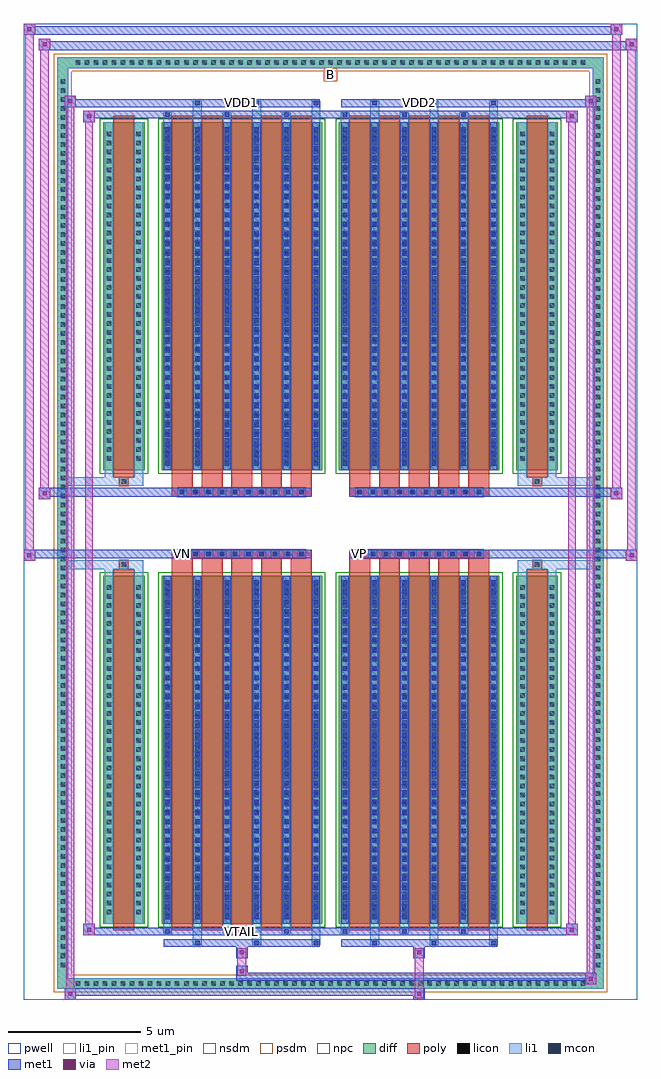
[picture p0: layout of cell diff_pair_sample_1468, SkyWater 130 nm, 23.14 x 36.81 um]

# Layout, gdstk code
import gdstk
lib = gdstk.Library(unit=1e-6, precision=5e-09)
def R(c, l, rs):  # rectangles x0, y0, x1, y1
    for r in rs: c.add(gdstk.rectangle(r[:2], r[2:], *l))
def A(c, l, x, y, w, h, nx, ny, dx, dy):  # array of equal rectangles
    R(c, l, [(x+i*dx, y+j*dy, x+i*dx+w, y+j*dy+h) for i in range(nx) for j in range(ny)])
def P(c, l, *ps):  # polygons
    for p in ps: c.add(gdstk.Polygon(p, *l))
pwell = (64, 44)
diff = (65, 20)
poly = (66, 20)
licon = (66, 44)
li1_pin = (67, 16)
li1 = (67, 20)
mcon = (67, 44)
met1_pin = (68, 16)
met1 = (68, 20)
via = (68, 44)
met2 = (69, 20)
nsdm = (93, 44)
psdm = (94, 20)
npc = (95, 20)

diff_pair_sample_1468 = lib.new_cell('diff_pair_sample_1468')
R(diff_pair_sample_1468, pwell, [(-11.57,-17.97,11.57,18.84), (-8.89,-16.16,-0.01,-0.8), (0.01,-16.16,8.89,-0.8), (-8.89,0.8,-0.01,16.16), (0.01,0.8,8.89,16.16)])
A(diff_pair_sample_1468, diff, -9.725, -17.57, 0.41, 0.41, 57, 2, 0.34, 34.73)
A(diff_pair_sample_1468, diff, -10.3, -16.865, 0.41, 0.41, 1, 99, 0, 0.34)
A(diff_pair_sample_1468, diff, 9.89, -16.865, 0.41, 0.41, 1, 99, 0, 0.34)
R(diff_pair_sample_1468, diff, [(-9.725,-17.57,9.725,-17.16), (-10.3,-16.865,-9.89,16.865), (9.89,-16.865,10.3,16.865), (-8.58,-15.115,-7.01,-1.985), (-6.37,-15.115,-0.32,-1.985), (0.32,-15.115,6.37,-1.985), (7.01,-15.115,8.58,-1.985), (-8.58,1.985,-7.01,15.115), (-6.37,1.985,-0.32,15.115), (0.32,1.985,6.37,15.115), (7.01,1.985,8.58,15.115), (-9.725,17.16,9.725,17.57)])
P(diff_pair_sample_1468, diff, [(10.3,17.57),(-10.3,17.57),(-10.3,-17.16),(-9.89,-17.16),(-9.89,17.16),(9.89,17.16),(9.89,-17.16),(-9.89,-17.16),(-10.3,-17.16),(-10.3,-17.57),(10.3,-17.57)])
A(diff_pair_sample_1468, poly, -5.98, -15.365, 0.79, 13.63, 5, 2, 1.12, 17.1)
A(diff_pair_sample_1468, poly, 0.71, -15.365, 0.79, 13.63, 5, 2, 1.12, 17.1)
A(diff_pair_sample_1468, poly, -5.98, -1.735, 0.79, 0.405, 5, 2, 1.12, 3.065)
A(diff_pair_sample_1468, poly, 0.71, -1.735, 0.79, 0.405, 5, 2, 1.12, 3.065)
A(diff_pair_sample_1468, poly, -5.76, -1.33, 0.33, 0.33, 10, 2, 0.5, 2.33)
A(diff_pair_sample_1468, poly, 0.93, -1.33, 0.33, 0.33, 10, 2, 0.5, 2.33)
R(diff_pair_sample_1468, poly, [(-8.19,-15.365,-7.4,-1.735), (7.4,-15.365,8.19,-1.735), (-7.96,-1.735,-7.63,-1.405), (-7.96,-1.735,-7.63,-1.405), (7.63,-1.735,7.96,-1.405), (7.63,-1.735,7.96,-1.405), (-5.98,-1.33,-0.71,-1), (0.71,-1.33,5.98,-1), (-5.98,1,-0.71,1.33), (0.71,1,5.98,1.33), (-7.96,1.405,-7.63,1.735), (-7.96,1.405,-7.63,1.735), (7.63,1.405,7.96,1.735), (7.63,1.405,7.96,1.735), (-8.19,1.735,-7.4,15.365), (7.4,1.735,8.19,15.365)])
A(diff_pair_sample_1468, licon, -9.605, -17.45, 0.17, 0.17, 57, 2, 0.34, 34.73)
A(diff_pair_sample_1468, licon, -10.18, -16.745, 0.17, 0.17, 1, 99, 0, 0.34)
A(diff_pair_sample_1468, licon, 10.01, -16.745, 0.17, 0.17, 1, 99, 0, 0.34)
A(diff_pair_sample_1468, licon, -8.44, -14.755, 0.17, 0.17, 1, 37, 0, 0.34)
A(diff_pair_sample_1468, licon, -7.32, -14.755, 0.17, 0.17, 1, 37, 0, 0.34)
A(diff_pair_sample_1468, licon, -6.23, -14.755, 0.17, 0.17, 6, 37, 1.12, 0.34)
A(diff_pair_sample_1468, licon, 0.46, -14.755, 0.17, 0.17, 6, 37, 1.12, 0.34)
A(diff_pair_sample_1468, licon, 7.15, -14.755, 0.17, 0.17, 1, 37, 0, 0.34)
A(diff_pair_sample_1468, licon, 8.27, -14.755, 0.17, 0.17, 1, 37, 0, 0.34)
A(diff_pair_sample_1468, licon, -5.68, -1.25, 0.17, 0.17, 10, 2, 0.5, 2.33)
A(diff_pair_sample_1468, licon, 1.01, -1.25, 0.17, 0.17, 10, 2, 0.5, 2.33)
A(diff_pair_sample_1468, licon, -8.44, 2.345, 0.17, 0.17, 1, 37, 0, 0.34)
A(diff_pair_sample_1468, licon, -7.32, 2.345, 0.17, 0.17, 1, 37, 0, 0.34)
A(diff_pair_sample_1468, licon, -6.23, 2.345, 0.17, 0.17, 6, 37, 1.12, 0.34)
A(diff_pair_sample_1468, licon, 0.46, 2.345, 0.17, 0.17, 6, 37, 1.12, 0.34)
A(diff_pair_sample_1468, licon, 7.15, 2.345, 0.17, 0.17, 1, 37, 0, 0.34)
A(diff_pair_sample_1468, licon, 8.27, 2.345, 0.17, 0.17, 1, 37, 0, 0.34)
R(diff_pair_sample_1468, licon, [(-7.88,-1.655,-7.71,-1.485), (7.71,-1.655,7.88,-1.485), (-7.88,1.485,-7.71,1.655), (7.71,1.485,7.88,1.655)])
R(diff_pair_sample_1468, li1_pin, [(-0.25,16.66,0.25,17.16)])
A(diff_pair_sample_1468, li1, -9.685, -17.53, 0.33, 0.33, 57, 2, 0.34, 34.73)
A(diff_pair_sample_1468, li1, -10.26, -16.825, 0.33, 0.33, 1, 99, 0, 0.34)
A(diff_pair_sample_1468, li1, 9.93, -16.825, 0.33, 0.33, 1, 99, 0, 0.34)
A(diff_pair_sample_1468, li1, -5.19, -15.92, 0.33, 0.805, 3, 2, 2.24, 31.035)
A(diff_pair_sample_1468, li1, -5.11, -15.92, 0.17, 0.17, 3, 2, 2.24, 31.67)
A(diff_pair_sample_1468, li1, 1.5, -15.92, 0.33, 0.805, 3, 2, 2.24, 31.035)
A(diff_pair_sample_1468, li1, 1.58, -15.92, 0.17, 0.17, 3, 2, 2.24, 31.67)
A(diff_pair_sample_1468, li1, -6.31, -15.49, 0.33, 0.375, 3, 2, 2.24, 30.605)
A(diff_pair_sample_1468, li1, -6.23, -15.49, 0.17, 0.17, 3, 2, 2.24, 30.81)
A(diff_pair_sample_1468, li1, 0.38, -15.49, 0.33, 0.375, 3, 2, 2.24, 30.605)
A(diff_pair_sample_1468, li1, 0.46, -15.49, 0.17, 0.17, 3, 2, 2.24, 30.81)
A(diff_pair_sample_1468, li1, -6.31, -15.115, 0.33, 13.13, 6, 2, 1.12, 17.1)
A(diff_pair_sample_1468, li1, 0.38, -15.115, 0.33, 13.13, 6, 2, 1.12, 17.1)
A(diff_pair_sample_1468, li1, -6.23, -14.935, 0.17, 0.17, 6, 36, 1.12, 0.36)
A(diff_pair_sample_1468, li1, -6.23, -14.935, 0.17, 12.77, 6, 2, 1.12, 17.1)
A(diff_pair_sample_1468, li1, 0.46, -14.935, 0.17, 0.17, 6, 36, 1.12, 0.36)
A(diff_pair_sample_1468, li1, 0.46, -14.935, 0.17, 12.77, 6, 2, 1.12, 17.1)
A(diff_pair_sample_1468, li1, -8.52, -14.835, 0.33, 0.33, 1, 37, 0, 0.34)
A(diff_pair_sample_1468, li1, -7.4, -14.835, 0.33, 0.33, 1, 37, 0, 0.34)
A(diff_pair_sample_1468, li1, -6.31, -14.835, 0.33, 0.33, 6, 37, 1.12, 0.34)
A(diff_pair_sample_1468, li1, 0.38, -14.835, 0.33, 0.33, 6, 37, 1.12, 0.34)
A(diff_pair_sample_1468, li1, 7.07, -14.835, 0.33, 0.33, 1, 37, 0, 0.34)
A(diff_pair_sample_1468, li1, 8.19, -14.835, 0.33, 0.33, 1, 37, 0, 0.34)
A(diff_pair_sample_1468, li1, -5.76, -1.33, 0.33, 0.33, 10, 2, 0.5, 2.33)
A(diff_pair_sample_1468, li1, 0.93, -1.33, 0.33, 0.33, 10, 2, 0.5, 2.33)
A(diff_pair_sample_1468, li1, -6.23, 2.165, 0.17, 0.17, 6, 36, 1.12, 0.36)
A(diff_pair_sample_1468, li1, 0.46, 2.165, 0.17, 0.17, 6, 36, 1.12, 0.36)
A(diff_pair_sample_1468, li1, -8.52, 2.265, 0.33, 0.33, 1, 37, 0, 0.34)
A(diff_pair_sample_1468, li1, -7.4, 2.265, 0.33, 0.33, 1, 37, 0, 0.34)
A(diff_pair_sample_1468, li1, -6.31, 2.265, 0.33, 0.33, 6, 37, 1.12, 0.34)
A(diff_pair_sample_1468, li1, 0.38, 2.265, 0.33, 0.33, 6, 37, 1.12, 0.34)
A(diff_pair_sample_1468, li1, 7.07, 2.265, 0.33, 0.33, 1, 37, 0, 0.34)
A(diff_pair_sample_1468, li1, 8.19, 2.265, 0.33, 0.33, 1, 37, 0, 0.34)
R(diff_pair_sample_1468, li1, [(-10.3,-17.57,-9.89,-17.16), (-10.3,-17.57,-9.89,-17.16), (-9.89,-17.57,9.89,-17.16), (9.89,-17.57,10.3,-17.16), (9.89,-17.57,10.3,-17.16), (-10.3,-17.16,-9.89,17.16), (9.89,-17.16,10.3,17.16), (-8.52,-15.115,-8.19,-1.985), (-7.4,-15.115,-7.07,-1.985), (7.07,-15.115,7.4,-1.985), (8.19,-15.115,8.52,-1.985), (-8.52,-1.985,-8.19,-1.405), (-7.4,-1.985,-7.07,-1.405), (7.07,-1.985,7.4,-1.405), (8.19,-1.985,8.52,-1.405), (-10.3,-1.735,-7.96,-1.405), (-8.52,-1.735,-7.96,-1.405), (-7.96,-1.735,-7.63,-1.405), (-7.63,-1.735,-7.07,-1.405), (7.07,-1.735,7.63,-1.405), (7.63,-1.735,7.96,-1.405), (7.63,-1.735,10.3,-1.405), (7.96,-1.735,8.52,-1.405), (-10.3,1.405,-7.96,1.735), (-8.52,1.405,-7.96,1.735), (-8.52,1.405,-8.19,1.985), (-7.96,1.405,-7.63,1.735), (-7.63,1.405,-7.07,1.735), (-7.4,1.405,-7.07,1.985), (7.07,1.405,7.63,1.735), (7.07,1.405,7.4,1.985), (7.63,1.405,7.96,1.735), (7.63,1.405,10.3,1.735), (7.96,1.405,8.52,1.735), (8.19,1.405,8.52,1.985), (-8.52,1.985,-8.19,15.115), (-7.4,1.985,-7.07,15.115), (7.07,1.985,7.4,15.115), (8.19,1.985,8.52,15.115), (-10.3,17.16,-9.89,17.57), (-10.3,17.16,-9.89,17.57), (-9.89,17.16,9.89,17.57), (9.89,17.16,10.3,17.57), (9.89,17.16,10.3,17.57)])
A(diff_pair_sample_1468, mcon, -5.11, -15.92, 0.17, 0.17, 3, 2, 2.24, 31.67)
A(diff_pair_sample_1468, mcon, 1.58, -15.92, 0.17, 0.17, 3, 2, 2.24, 31.67)
A(diff_pair_sample_1468, mcon, -6.23, -15.49, 0.17, 0.17, 3, 2, 2.24, 30.81)
A(diff_pair_sample_1468, mcon, 0.46, -15.49, 0.17, 0.17, 3, 2, 2.24, 30.81)
A(diff_pair_sample_1468, mcon, -6.23, -14.935, 0.17, 0.17, 6, 36, 1.12, 0.36)
A(diff_pair_sample_1468, mcon, 0.46, -14.935, 0.17, 0.17, 6, 36, 1.12, 0.36)
A(diff_pair_sample_1468, mcon, -5.68, -1.25, 0.17, 0.17, 10, 2, 0.5, 2.33)
A(diff_pair_sample_1468, mcon, 1.01, -1.25, 0.17, 0.17, 10, 2, 0.5, 2.33)
A(diff_pair_sample_1468, mcon, -6.23, 2.165, 0.17, 0.17, 6, 36, 1.12, 0.36)
A(diff_pair_sample_1468, mcon, 0.46, 2.165, 0.17, 0.17, 6, 36, 1.12, 0.36)
R(diff_pair_sample_1468, met1_pin, [(-3.48,-15.53,-3.21,-15.26), (-5.73,-1.29,-5.46,-1.02), (0.96,-1.29,1.23,-1.02), (-3.48,15.71,-3.21,15.98), (3.21,15.71,3.48,15.98)])
A(diff_pair_sample_1468, met1, -5.17, -15.98, 0.29, 0.29, 3, 2, 2.24, 31.67)
A(diff_pair_sample_1468, met1, 1.52, -15.98, 0.29, 0.29, 3, 2, 2.24, 31.67)
A(diff_pair_sample_1468, met1, -6.29, -15.55, 0.29, 0.29, 3, 2, 2.24, 30.81)
A(diff_pair_sample_1468, met1, 0.4, -15.55, 0.29, 0.29, 3, 2, 2.24, 30.81)
A(diff_pair_sample_1468, met1, -6.29, -15.115, 0.29, 13.13, 6, 2, 1.12, 17.1)
A(diff_pair_sample_1468, met1, 0.4, -15.115, 0.29, 13.13, 6, 2, 1.12, 17.1)
A(diff_pair_sample_1468, met1, -6.29, -14.995, 0.29, 0.29, 6, 36, 1.12, 0.36)
A(diff_pair_sample_1468, met1, 0.4, -14.995, 0.29, 0.29, 6, 36, 1.12, 0.36)
A(diff_pair_sample_1468, met1, -5.74, -1.31, 0.29, 0.29, 10, 2, 0.5, 2.33)
A(diff_pair_sample_1468, met1, 0.95, -1.31, 0.29, 0.29, 10, 2, 0.5, 2.33)
A(diff_pair_sample_1468, met1, -6.29, 2.105, 0.29, 0.29, 6, 36, 1.12, 0.36)
A(diff_pair_sample_1468, met1, 0.4, 2.105, 0.29, 0.29, 6, 36, 1.12, 0.36)
R(diff_pair_sample_1468, met1, [(-10.03,-17.97,-9.6,-17.54), (3.13,-17.97,3.56,-17.54), (-10.03,-17.83,3.56,-17.54), (9.6,-17.4,10.03,-16.97), (-3.56,-17.26,10.03,-16.97), (-3.56,-17.12,-3.13,-16.69), (-3.56,-16.41,-3.13,-15.98), (3.13,-16.41,3.56,-15.98), (-6.29,-15.98,-0.4,-15.69), (0.4,-15.98,6.29,-15.69), (-9.32,-15.55,-8.89,-15.12), (-9.32,-15.55,-6.29,-15.26), (-6.29,-15.55,-0.4,-15.26), (-0.4,-15.55,0.4,-15.26), (0.4,-15.55,6.29,-15.26), (6.29,-15.55,9.32,-15.26), (8.89,-15.55,9.32,-15.12), (-11.57,-1.43,-11.14,-1), (11.14,-1.43,11.57,-1), (-11.57,-1.33,-0.71,-1), (-5.98,-1.33,-0.71,-1), (0.71,-1.33,5.98,-1), (0.71,-1.33,11.57,-1), (-11,0.9,-10.57,1.33), (10.57,0.9,11,1.33), (-11,1,-5.98,1.33), (-5.98,1,-0.71,1.33), (0.71,1,5.98,1.33), (5.98,1,11,1.33), (-9.32,15.12,-8.89,15.55), (8.89,15.12,9.32,15.55), (-9.32,15.26,-6.29,15.55), (-6.29,15.26,-0.4,15.55), (-0.4,15.26,0.4,15.55), (0.4,15.26,6.29,15.55), (6.29,15.26,9.32,15.55), (-10.03,15.69,-9.6,16.12), (-10.03,15.69,-6.29,15.98), (-6.29,15.69,-0.4,15.98), (0.4,15.69,6.29,15.98), (6.29,15.69,10.03,15.98), (9.6,15.69,10.03,16.12), (-11,17.84,-10.57,18.27), (-11,17.84,-8.89,18.17), (-8.89,17.84,8.89,18.17), (8.89,17.84,11.57,18.17), (11.14,17.84,11.57,18.27), (-11.57,18.41,-11.14,18.84), (-11.57,18.41,-8.89,18.74), (-8.89,18.41,8.89,18.74), (8.89,18.41,11,18.74), (10.57,18.41,11,18.84)])
R(diff_pair_sample_1468, via, [(-9.89,-17.83,-9.74,-17.68), (3.27,-17.83,3.42,-17.68), (9.74,-17.26,9.89,-17.11), (-3.42,-16.98,-3.27,-16.83), (-3.42,-16.27,-3.27,-16.12), (3.27,-16.27,3.42,-16.12), (-9.18,-15.41,-9.03,-15.26), (9.03,-15.41,9.18,-15.26), (-11.43,-1.29,-11.28,-1.14), (11.28,-1.29,11.43,-1.14), (-10.86,1.04,-10.71,1.19), (10.71,1.04,10.86,1.19), (-9.18,15.26,-9.03,15.41), (9.03,15.26,9.18,15.41), (-9.89,15.83,-9.74,15.98), (9.74,15.83,9.89,15.98), (-10.86,17.98,-10.71,18.13), (11.28,17.98,11.43,18.13), (-11.43,18.55,-11.28,18.7), (10.71,18.55,10.86,18.7)])
R(diff_pair_sample_1468, met2, [(-10.03,-17.97,-9.6,-17.54), (-9.96,-17.97,-9.67,16.12), (-9.67,-17.97,-9.6,-17.54), (-9.98,-17.92,-9.65,-17.59), (3.18,-17.92,3.51,-17.59), (3.18,-17.59,3.51,-16.36), (9.6,-17.4,10.03,-16.97), (9.67,-17.4,9.96,16.12), (9.96,-17.4,10.03,-16.97), (9.65,-17.35,9.98,-17.02), (-3.51,-17.07,-3.18,-16.74), (-3.51,-16.74,-3.18,-16.36), (-3.51,-16.36,-3.18,-16.03), (3.18,-16.36,3.51,-16.03), (-9.32,-15.55,-8.89,-15.12), (-9.25,-15.55,-8.96,15.55), (-8.96,-15.55,-8.89,-15.12), (8.89,-15.55,9.32,-15.12), (8.96,-15.55,9.25,15.55), (9.25,-15.55,9.32,-15.12), (-9.27,-15.5,-8.94,-15.17), (8.94,-15.5,9.27,-15.17), (-11.57,-1.43,-11.14,-1), (-11.52,-1.43,-11.19,18.84), (-11.19,-1.43,-11.14,-1), (11.14,-1.43,11.57,-1), (11.19,-1.43,11.52,18.27), (11.52,-1.43,11.57,-1), (-11.52,-1.38,-11.19,-1.05), (11.19,-1.38,11.52,-1.05), (-11,0.9,-10.57,1.33), (-10.95,0.9,-10.62,18.27), (-10.62,0.9,-10.57,1.33), (10.57,0.9,11,1.33), (10.62,0.9,10.95,18.84), (10.95,0.9,11,1.33), (-10.95,0.95,-10.62,1.28), (10.62,0.95,10.95,1.28), (-9.32,15.12,-8.89,15.55), (-8.96,15.12,-8.89,15.55), (8.89,15.12,9.32,15.55), (9.25,15.12,9.32,15.55), (-9.27,15.17,-8.94,15.5), (8.94,15.17,9.27,15.5), (-10.03,15.69,-9.6,16.12), (-9.67,15.69,-9.6,16.12), (9.6,15.69,10.03,16.12), (9.96,15.69,10.03,16.12), (-9.98,15.74,-9.65,16.07), (9.65,15.74,9.98,16.07), (-11,17.84,-10.57,18.27), (-10.62,17.84,-10.57,18.27), (11.14,17.84,11.57,18.27), (11.52,17.84,11.57,18.27), (-10.95,17.89,-10.62,18.22), (11.19,17.89,11.52,18.22), (-11.57,18.41,-11.14,18.84), (-11.19,18.41,-11.14,18.84), (10.57,18.41,11,18.84), (10.95,18.41,11,18.84), (-11.52,18.46,-11.19,18.79), (10.62,18.46,10.95,18.79)])
R(diff_pair_sample_1468, nsdm, [(-8.71,-15.245,-6.88,-1.855), (-6.5,-15.245,-0.19,-1.855), (0.19,-15.245,6.5,-1.855), (6.88,-15.245,8.71,-1.855), (-8.71,1.855,-6.88,15.245), (-6.5,1.855,-0.19,15.245), (0.19,1.855,6.5,15.245), (6.88,1.855,8.71,15.245)])
P(diff_pair_sample_1468, psdm, [(10.43,17.7),(-10.43,17.7),(-10.43,-17.03),(-9.76,-17.03),(-9.76,17.03),(9.76,17.03),(9.76,-17.03),(-9.76,-17.03),(-10.43,-17.03),(-10.43,-17.7),(10.43,-17.7)])
A(diff_pair_sample_1468, npc, -5.78, -1.35, 0.37, 0.37, 10, 2, 0.5, 2.33)
A(diff_pair_sample_1468, npc, 0.91, -1.35, 0.37, 0.37, 10, 2, 0.5, 2.33)
R(diff_pair_sample_1468, npc, [(-7.98,-1.755,-7.61,-1.385), (7.61,-1.755,7.98,-1.385), (-5.78,-1.35,-4.91,-0.98), (-5.78,-1.35,-4.91,-0.98), (-5.28,-1.35,-4.41,-0.98), (-5.28,-1.35,-4.41,-0.98), (-4.78,-1.35,-3.91,-0.98), (-4.78,-1.35,-3.91,-0.98), (-4.28,-1.35,-3.41,-0.98), (-4.28,-1.35,-3.41,-0.98), (-3.78,-1.35,-2.91,-0.98), (-3.78,-1.35,-2.91,-0.98), (-3.28,-1.35,-2.41,-0.98), (-3.28,-1.35,-2.41,-0.98), (-2.78,-1.35,-1.91,-0.98), (-2.78,-1.35,-1.91,-0.98), (-2.28,-1.35,-1.41,-0.98), (-2.28,-1.35,-1.41,-0.98), (-1.78,-1.35,-0.91,-0.98), (-1.78,-1.35,-0.91,-0.98), (0.91,-1.35,1.78,-0.98), (0.91,-1.35,1.78,-0.98), (1.41,-1.35,2.28,-0.98), (1.41,-1.35,2.28,-0.98), (1.91,-1.35,2.78,-0.98), (1.91,-1.35,2.78,-0.98), (2.41,-1.35,3.28,-0.98), (2.41,-1.35,3.28,-0.98), (2.91,-1.35,3.78,-0.98), (2.91,-1.35,3.78,-0.98), (3.41,-1.35,4.28,-0.98), (3.41,-1.35,4.28,-0.98), (3.91,-1.35,4.78,-0.98), (3.91,-1.35,4.78,-0.98), (4.41,-1.35,5.28,-0.98), (4.41,-1.35,5.28,-0.98), (4.91,-1.35,5.78,-0.98), (4.91,-1.35,5.78,-0.98), (-5.78,0.98,-4.91,1.35), (-5.78,0.98,-4.91,1.35), (-5.28,0.98,-4.41,1.35), (-5.28,0.98,-4.41,1.35), (-4.78,0.98,-3.91,1.35), (-4.78,0.98,-3.91,1.35), (-4.28,0.98,-3.41,1.35), (-4.28,0.98,-3.41,1.35), (-3.78,0.98,-2.91,1.35), (-3.78,0.98,-2.91,1.35), (-3.28,0.98,-2.41,1.35), (-3.28,0.98,-2.41,1.35), (-2.78,0.98,-1.91,1.35), (-2.78,0.98,-1.91,1.35), (-2.28,0.98,-1.41,1.35), (-2.28,0.98,-1.41,1.35), (-1.78,0.98,-0.91,1.35), (-1.78,0.98,-0.91,1.35), (0.91,0.98,1.78,1.35), (0.91,0.98,1.78,1.35), (1.41,0.98,2.28,1.35), (1.41,0.98,2.28,1.35), (1.91,0.98,2.78,1.35), (1.91,0.98,2.78,1.35), (2.41,0.98,3.28,1.35), (2.41,0.98,3.28,1.35), (2.91,0.98,3.78,1.35), (2.91,0.98,3.78,1.35), (3.41,0.98,4.28,1.35), (3.41,0.98,4.28,1.35), (3.91,0.98,4.78,1.35), (3.91,0.98,4.78,1.35), (4.41,0.98,5.28,1.35), (4.41,0.98,5.28,1.35), (4.91,0.98,5.78,1.35), (4.91,0.98,5.78,1.35), (-7.98,1.385,-7.61,1.755), (7.61,1.385,7.98,1.755)])
diff_pair_sample_1468.add(gdstk.Label('VTAIL', (-3.345,-15.395), layer=68, texttype=5))
diff_pair_sample_1468.add(gdstk.Label('VN', (-5.595,-1.155), layer=68, texttype=5))
diff_pair_sample_1468.add(gdstk.Label('VP', (1.095,-1.155), layer=68, texttype=5))
diff_pair_sample_1468.add(gdstk.Label('B', (0,16.91), layer=67, texttype=5))
diff_pair_sample_1468.add(gdstk.Label('VDD2', (3.345,15.845), layer=68, texttype=5))
diff_pair_sample_1468.add(gdstk.Label('VDD1', (-3.345,15.845), layer=68, texttype=5))

lib.write_gds('diff_pair_sample_1468.gds')
